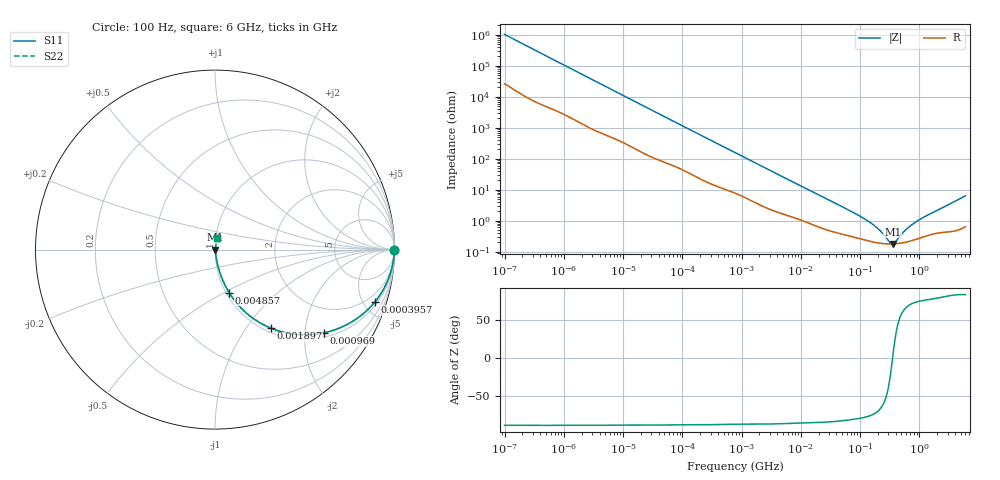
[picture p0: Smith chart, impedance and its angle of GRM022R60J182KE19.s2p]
!Murata Part Number: GRM022R60J182KE19
!These Parameters are Measured in Series Mode Connection
!Data Generated on Mar 30, 2021
!  o--ll--o
!Port1  Port2
!  o------o
!Operation Temp=25[degC], DC Bias Voltage=0[V]
!Freq. Start=100[Hz] Stop=6[GHz] 401[Steps]
# Hz S RI R 50
!Freq.(Hz) S11(Real) S11(Imag) S21(Real) S21(Imag) S12(Real) S12(Imag) S22(Real) S22(Imag)
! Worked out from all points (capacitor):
!   401 points, 100 Hz to 6 GHz, reference 50 ohm
!   read as one part in series: C = 1.55 nF near 109 Hz
!   lowest |Z| = 178 mohm at 357.3 MHz (marker M1)
!   series resonance near 353.5 MHz, so ESL is about 130 pH
!   S11 on the Smith chart (normalised r, x): 100 Hz: open; 395.7 kHz: 1.25, -6.00; 969 kHz: 1.13, -2.52; 1.897 MHz: 1.07, -1.32; 4.857 MHz: 1.03, -0.53; 6 GHz: 1.01, +0.13
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100  1 -9.76e-05  2.5e-06 9.76e-05  2.5e-06 9.76e-05  1 -9.76e-05
2008  0.9999 -0.00187  5.02e-05 0.00187  5.02e-05 0.00187  0.9999 -0.00187
40335  0.9976 -0.0356  0.00242 0.0356  0.00242 0.0356  0.9976 -0.0356
141303  0.9811 -0.1185  0.0189 0.1185  0.0189 0.1185  0.9811 -0.1185
395726  0.8905 -0.2921  0.1095 0.2921  0.1095 0.2921  0.8905 -0.2921
774597  0.7012 -0.4337  0.2988 0.4337  0.2988 0.4337  0.7012 -0.4337
968953  0.6088 -0.4632  0.3912 0.4632  0.3912 0.4632  0.6088 -0.4632
1325623  0.467 -0.4737  0.533 0.4737  0.533 0.4737  0.467 -0.4737
1896632  0.3119 -0.438  0.6881 0.438  0.6881 0.438  0.3119 -0.438
2967816  0.1669 -0.3466  0.8331 0.3466  0.8331 0.3466  0.1669 -0.3466
4856642  0.0784 -0.2391  0.9216 0.2391  0.9216 0.2391  0.0784 -0.2391
1.555665e7  0.0147 -0.0847  0.9853 0.0847  0.9853 0.0847  0.0147 -0.0847
7.129496e7  0.00343 -0.0194  0.9966 0.0194  0.9966 0.0194  0.00343 -0.0194
1.334425e8  0.00232 -0.00965  0.9977 0.00965  0.9977 0.00965  0.00232 -0.00965
2.088084e8  0.0019 -0.00477  0.9981 0.00477  0.9981 0.00477  0.0019 -0.00477
3.124326e8  0.00177 -0.00108  0.9982 0.00108  0.9982 0.00108  0.00177 -0.00108
3.573489e8  0.00177 9.48e-05  0.9982 -9.48e-05  0.9982 -9.48e-05  0.00177 9.48e-05
3.908258e8  0.00179 0.000876  0.9982 -0.000876  0.9982 -0.000876  0.00179 0.000876
6.11557e8  0.00206 0.00495  0.9979 -0.00495  0.9979 -0.00495  0.00206 0.00495
9.150511e8  0.00262 0.00921  0.9974 -0.00921  0.9974 -0.00921  0.00262 0.00921
1.431855e9  0.00359 0.0151  0.9964 -0.0151  0.9964 -0.0151  0.00359 0.0151
6e9  0.0103 0.0619  0.9897 -0.0619  0.9897 -0.0619  0.0103 0.0619
